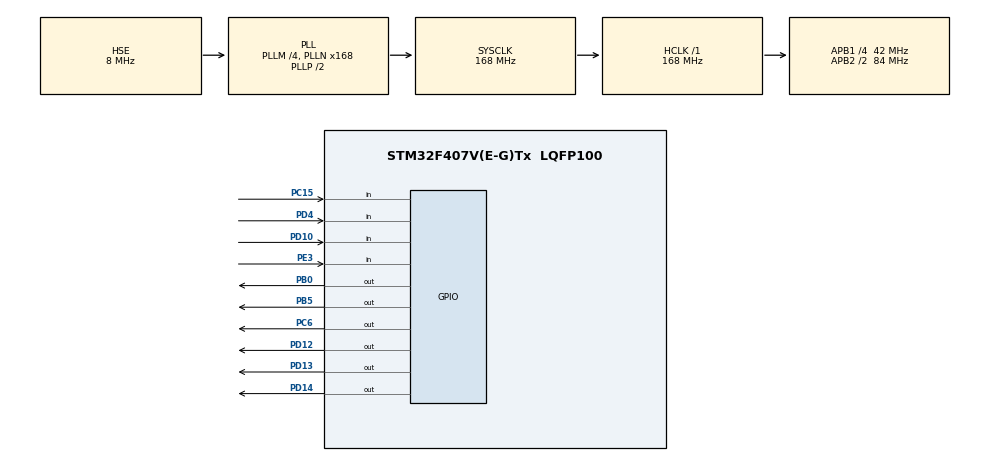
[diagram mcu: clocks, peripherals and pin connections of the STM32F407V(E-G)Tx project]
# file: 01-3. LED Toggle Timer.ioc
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Mcu.Family=STM32F4
Mcu.Name=STM32F407V(E-G)Tx
Mcu.Package=LQFP100
NVIC.PriorityGroup=NVIC_PRIORITYGROUP_4
NVIC.TIM6_DAC_IRQn=true\:0\:0\:false\:true\:true\:1\:true\:true\:true
PB0.Signal=GPIO_Output
PB5.Signal=GPIO_Output
PC15-OSC32_OUT.Signal=GPIO_Input
PC6.Signal=GPIO_Output
PD10.Signal=GPIO_Input
PD12.Signal=GPIO_Output
PD13.Signal=GPIO_Output
PD14.Signal=GPIO_Output
PD4.Signal=GPIO_Input
PD8.Signal=USART3_TX
PD9.Signal=USART3_RX
PE3.Signal=GPIO_Input
PH0-OSC_IN.Mode=HSE-External-Oscillator
PH0-OSC_IN.Signal=RCC_OSC_IN
PH1-OSC_OUT.Mode=HSE-External-Oscillator
PH1-OSC_OUT.Signal=RCC_OSC_OUT
ProjectManager.HeapSize=0x200
ProjectManager.StackSize=0x400
ProjectManager.TargetToolchain=STM32CubeIDE
RCC.48MHZClocksFreq_Value=84000000
RCC.AHBFreq_Value=168000000
RCC.APB1CLKDivider=RCC_HCLK_DIV4
RCC.APB1Freq_Value=42000000
RCC.APB1TimFreq_Value=84000000
RCC.APB2CLKDivider=RCC_HCLK_DIV2
RCC.APB2Freq_Value=84000000
RCC.APB2TimFreq_Value=168000000
RCC.CortexFreq_Value=168000000
RCC.HCLKFreq_Value=168000000
RCC.HSE_VALUE=8000000
RCC.HSI_VALUE=16000000
RCC.LSE_VALUE=32768
RCC.PLLM=4
RCC.PLLN=168
RCC.PLLSourceVirtual=RCC_PLLSOURCE_HSE
RCC.SYSCLKFreq_VALUE=168000000
RCC.SYSCLKSource=RCC_SYSCLKSOURCE_PLLCLK
RCC.VCOOutputFreq_Value=336000000
TIM6.Period=840-1
TIM6.Prescaler=100-1
VP_TIM6_VS_ClockSourceINT.Mode=Enable_Timer
board=custom

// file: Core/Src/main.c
/* USER CODE BEGIN Header */
/**
  ******************************************************************************
  * @file           : main.c
  * @brief          : Main program body
  ******************************************************************************
  * @attention
  *
  * Copyright (c) 2025 STMicroelectronics.
  * All rights reserved.
  *
  * This software is licensed under terms that can be found in the LICENSE file
  * in the root directory of this software component.
  * If no LICENSE file comes with this software, it is provided AS-IS.
  *
  ******************************************************************************
  */
/* USER CODE END Header */
#include "main.h"
#include "tim.h"
#include "gpio.h"

/* USER CODE BEGIN Includes */
#include "7SEG.h"
/* USER CODE END Includes */

/* USER CODE BEGIN PTD */
typedef enum
{
	RELEASE_IDLE = 0, // 뗀 상태(0b00)
    PRESS_EDGE,       // 누르는 순간(0b01)
	RELEASE_EDGE,     // 떼는 순간(0b10)
	PRESS_HOLD        // 누르고 있는 중(0b11)
}SW_MODE;
/* USER CODE END PTD */

/* USER CODE BEGIN PV */
GPIO_PinState Prev_SW1_State = GPIO_PIN_RESET;
GPIO_PinState Curr_SW1_State = GPIO_PIN_RESET;

GPIO_PinState Pin_State = GPIO_PIN_RESET;;

SW_MODE SW1_Mode = RELEASE_IDLE;

static uint16_t cnt = 0;
static uint8_t dot = ON;
/* USER CODE END PV */

void SystemClock_Config(void);
static void MX_NVIC_Init(void);
/* USER CODE BEGIN PFP */
SW_MODE DetectSwitchMode(void);
/* USER CODE END PFP */

int main(void)
{

  /* MCU Configuration--------------------------------------------------------*/

  /* Reset of all peripherals, Initializes the Flash interface and the Systick. */
  HAL_Init();

  /* Configure the system clock */
  SystemClock_Config();

  /* Initialize all configured peripherals */
  MX_GPIO_Init();
  MX_TIM6_Init();

  /* Initialize interrupts */
  MX_NVIC_Init();
  /* USER CODE BEGIN 2 */
  HAL_GPIO_WritePin(GPIOD, GPIO_PIN_12, GPIO_PIN_SET);
  HAL_GPIO_WritePin(GPIOD, GPIO_PIN_13, GPIO_PIN_SET);
  HAL_GPIO_WritePin(GPIOD, GPIO_PIN_14, GPIO_PIN_SET);

  HAL_GPIO_WritePin(GPIOC, GPIO_PIN_6, GPIO_PIN_SET);
  HAL_GPIO_WritePin(GPIOB, GPIO_PIN_5, GPIO_PIN_SET);
  HAL_GPIO_WritePin(GPIOB, GPIO_PIN_0, GPIO_PIN_SET);

  HAL_TIM_Base_Start_IT(&htim6);

  _7SEG_GPIO_Init();
  /* USER CODE END 2 */

  /* Infinite loop */
  /* USER CODE BEGIN WHILE */
  while (1)
  {
	  SW1_Mode = DetectSwitchMode();
	  switch(SW1_Mode)
	  {
	  	  case 0: break;
	  	  case 1:
	  		  Pin_State = HAL_GPIO_ReadPin(GPIOD, GPIO_PIN_12);
	  		  HAL_GPIO_WritePin(GPIOD, GPIO_PIN_12, Pin_State = (GPIO_PinState)(!Pin_State));
			  break;
	  	  case 2:
	  		  Pin_State = HAL_GPIO_ReadPin(GPIOC, GPIO_PIN_6);
	  		  HAL_GPIO_WritePin(GPIOC, GPIO_PIN_6, Pin_State = (GPIO_PinState)(!Pin_State));

	  		  cnt = 0;
	  		  break;
	  	  case 3:
	  		  dot = ((cnt % 1000) < 500) ? ON : OFF;
	  		  _7SEG_SetNumber(DGT1, (cnt / 1000) % 10, dot);
	  		  _7SEG_SetNumber(DGT2, (cnt % 1000) / 100, OFF);
	  		  break;
	  }
	  Prev_SW1_State = Curr_SW1_State;
    /* USER CODE END WHILE */

  }
}

void SystemClock_Config(void)
{
  RCC_OscInitTypeDef RCC_OscInitStruct = {0};
  RCC_ClkInitTypeDef RCC_ClkInitStruct = {0};

  /** Configure the main internal regulator output voltage
  */
  __HAL_RCC_PWR_CLK_ENABLE();
  __HAL_PWR_VOLTAGESCALING_CONFIG(PWR_REGULATOR_VOLTAGE_SCALE1);

  /** Initializes the RCC Oscillators according to the specified parameters
  * in the RCC_OscInitTypeDef structure.
  */
  RCC_OscInitStruct.OscillatorType = RCC_OSCILLATORTYPE_HSE;
  RCC_OscInitStruct.HSEState = RCC_HSE_ON;
  RCC_OscInitStruct.PLL.PLLState = RCC_PLL_ON;
  RCC_OscInitStruct.PLL.PLLSource = RCC_PLLSOURCE_HSE;
  RCC_OscInitStruct.PLL.PLLM = 4;
  RCC_OscInitStruct.PLL.PLLN = 168;
  RCC_OscInitStruct.PLL.PLLP = RCC_PLLP_DIV2;
  RCC_OscInitStruct.PLL.PLLQ = 4;
  if (HAL_RCC_OscConfig(&RCC_OscInitStruct) != HAL_OK)
  {
    Error_Handler();
  }

  /** Initializes the CPU, AHB and APB buses clocks
  */
  RCC_ClkInitStruct.ClockType = RCC_CLOCKTYPE_HCLK|RCC_CLOCKTYPE_SYSCLK
                              |RCC_CLOCKTYPE_PCLK1|RCC_CLOCKTYPE_PCLK2;
  RCC_ClkInitStruct.SYSCLKSource = RCC_SYSCLKSOURCE_PLLCLK;
  RCC_ClkInitStruct.AHBCLKDivider = RCC_SYSCLK_DIV1;
  RCC_ClkInitStruct.APB1CLKDivider = RCC_HCLK_DIV4;
  RCC_ClkInitStruct.APB2CLKDivider = RCC_HCLK_DIV2;

  if (HAL_RCC_ClockConfig(&RCC_ClkInitStruct, FLASH_LATENCY_5) != HAL_OK)
  {
    Error_Handler();
  }
}

/**
  * @brief NVIC Configuration.
  * @retval None
  */
static void MX_NVIC_Init(void)
{
  /* TIM6_DAC_IRQn interrupt configuration */
  HAL_NVIC_SetPriority(TIM6_DAC_IRQn, 0, 0);
  HAL_NVIC_EnableIRQ(TIM6_DAC_IRQn);
}

/* USER CODE BEGIN 4 */
SW_MODE DetectSwitchMode(void)
{
	Curr_SW1_State =  HAL_GPIO_ReadPin(GPIOE, GPIO_PIN_3);
	switch ((Prev_SW1_State << 1) | Curr_SW1_State)
	{
		case 0: return RELEASE_IDLE;   // 0b00
		case 1: return PRESS_EDGE;     // 0b01
		case 2: return RELEASE_EDGE;   // 0b10
		case 3: return PRESS_HOLD;     // 0b11
		default: return RELEASE_IDLE;
	}
}

void HAL_TIM_PeriodElapsedCallback(TIM_HandleTypeDef *htim)
{
	if(htim->Instance == TIM6 && SW1_Mode == PRESS_HOLD) cnt++;
}
/* USER CODE END 4 */

void Error_Handler(void)
{
  __disable_irq();
  while (1)
  {
  }
}
